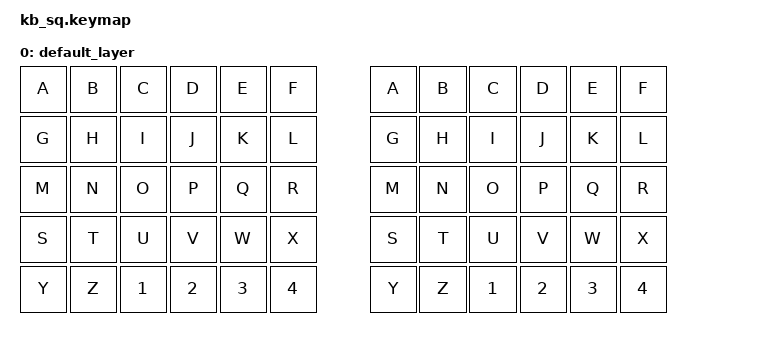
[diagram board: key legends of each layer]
// This file was generated from a template. Edit it to match your keyboard.
// See https://zmk.dev/docs/development/hardware-integration/new-shield for more instructions.

#include <behaviors.dtsi>
#include <dt-bindings/zmk/keys.h>

/ {
    // Define a default keymap here.
    // See https://zmk.dev/docs/development/hardware-integration/new-shield#default-keymap.
    keymap {
        compatible = "zmk,keymap";

        default_layer {
            bindings = <
                &kp A &kp B &kp C &kp D &kp E &kp F     &kp A &kp B &kp C &kp D &kp E &kp F
                &kp G &kp H &kp I &kp J &kp K &kp L     &kp G &kp H &kp I &kp J &kp K &kp L
                &kp M &kp N &kp O &kp P &kp Q &kp R     &kp M &kp N &kp O &kp P &kp Q &kp R
                &kp S &kp T &kp U &kp V &kp W &kp X     &kp S &kp T &kp U &kp V &kp W &kp X
                &kp Y &kp Z &kp 1 &kp 2 &kp 3 &kp 4     &kp Y &kp Z &kp 1 &kp 2 &kp 3 &kp 4
            >;
        };
    };
};
